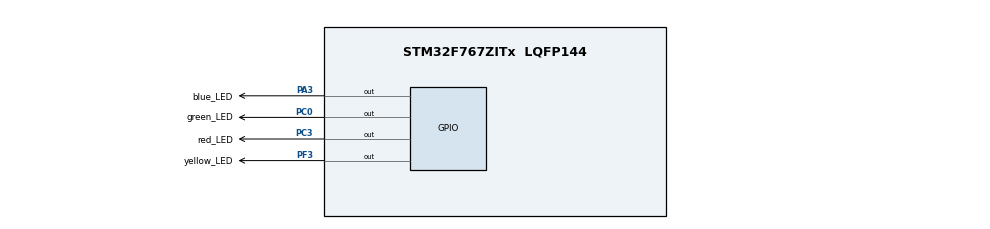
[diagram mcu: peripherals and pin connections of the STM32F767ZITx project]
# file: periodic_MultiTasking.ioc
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FREERTOS.Tasks01=toggleGreen,24,128,toggleGreenHook,Default,NULL,Dynamic,NULL,NULL;toggleRed,8,128,toggleRedHook,Default,NULL,Dynamic,NULL,NULL
Mcu.Family=STM32F7
Mcu.Name=STM32F767ZITx
Mcu.Package=LQFP144
NVIC.PriorityGroup=NVIC_PRIORITYGROUP_4
NVIC.TIM6_DAC_IRQn=true\:5\:0\:false\:false\:true\:true\:true\:true\:true
PA3.GPIO_Label=blue_LED
PA3.Signal=GPIO_Output
PC0.GPIO_Label=green_LED
PC0.Signal=GPIO_Output
PC3.GPIO_Label=red_LED
PC3.Signal=GPIO_Output
PF3.GPIO_Label=yellow_LED
PF3.Signal=GPIO_Output
ProjectManager.HeapSize=0x200
ProjectManager.StackSize=0x400
ProjectManager.TargetToolchain=STM32CubeIDE
RCC.HSE_VALUE=25000000
RCC.HSI_VALUE=16000000
RCC.LSE_VALUE=32768
RCC.USBFreq_Value=96000000
RCC.VCOOutputFreq_Value=192000000
TIM6.Prescaler=16 - 1
VP_FREERTOS_VS_CMSIS_V2.Mode=CMSIS_V2
VP_TIM1_VS_ControllerModeTrigger.Mode=Trigger Mode
VP_TIM6_VS_ClockSourceINT.Mode=Enable_Timer
board=custom

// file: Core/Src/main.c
/* USER CODE BEGIN Header */
/**
  ******************************************************************************
  * @file           : main.c
  * @brief          : Main program body
  ******************************************************************************
  * @attention
  *
  * Copyright (c) 2025 STMicroelectronics.
  * All rights reserved.
  *
  * This software is licensed under terms that can be found in the LICENSE file
  * in the root directory of this software component.
  * If no LICENSE file comes with this software, it is provided AS-IS.
  *
  ******************************************************************************
  */
/* USER CODE END Header */
#include "main.h"
#include "cmsis_os.h"

TIM_HandleTypeDef htim6;

/* Definitions for toggleGreen */
osThreadId_t toggleGreenHandle;
const osThreadAttr_t toggleGreen_attributes = {
  .name = "toggleGreen",
  .stack_size = 128 * 4,
  .priority = (osPriority_t) osPriorityNormal,
};
/* Definitions for toggleRed */
osThreadId_t toggleRedHandle;
const osThreadAttr_t toggleRed_attributes = {
  .name = "toggleRed",
  .stack_size = 128 * 4,
  .priority = (osPriority_t) osPriorityLow,
};

void SystemClock_Config(void);
static void MPU_Config(void);
static void MX_GPIO_Init(void);
static void MX_TIM1_Init(void);
static void MX_TIM6_Init(void);
void toggleGreenHook(void *argument);
void toggleRedHook(void *argument);

int main(void)
{

  /* MPU Configuration--------------------------------------------------------*/
  MPU_Config();

  /* MCU Configuration--------------------------------------------------------*/

  /* Reset of all peripherals, Initializes the Flash interface and the Systick. */
  HAL_Init();

  /* Configure the system clock */
  SystemClock_Config();

  /* Initialize all configured peripherals */
  MX_GPIO_Init();
  MX_TIM1_Init();
  MX_TIM6_Init();

  /* Init scheduler */
  osKernelInitialize();

  /* Create the thread(s) */
  /* creation of toggleGreen */
  toggleGreenHandle = osThreadNew(toggleGreenHook, NULL, &toggleGreen_attributes);

  /* creation of toggleRed */
  toggleRedHandle = osThreadNew(toggleRedHook, NULL, &toggleRed_attributes);

  /* Start scheduler */
  osKernelStart();

  /* We should never get here as control is now taken by the scheduler */
  /* Infinite loop */
  while (1)
  {

  }
}

void SystemClock_Config(void)
{
  RCC_OscInitTypeDef RCC_OscInitStruct = {0};
  RCC_ClkInitTypeDef RCC_ClkInitStruct = {0};

  /** Configure the main internal regulator output voltage
  */
  __HAL_RCC_PWR_CLK_ENABLE();
  __HAL_PWR_VOLTAGESCALING_CONFIG(PWR_REGULATOR_VOLTAGE_SCALE3);

  /** Initializes the RCC Oscillators according to the specified parameters
  * in the RCC_OscInitTypeDef structure.
  */
  RCC_OscInitStruct.OscillatorType = RCC_OSCILLATORTYPE_HSI;
  RCC_OscInitStruct.HSIState = RCC_HSI_ON;
  RCC_OscInitStruct.HSICalibrationValue = RCC_HSICALIBRATION_DEFAULT;
  RCC_OscInitStruct.PLL.PLLState = RCC_PLL_NONE;
  if (HAL_RCC_OscConfig(&RCC_OscInitStruct) != HAL_OK)
  {
    Error_Handler();
  }

  /** Initializes the CPU, AHB and APB buses clocks
  */
  RCC_ClkInitStruct.ClockType = RCC_CLOCKTYPE_HCLK|RCC_CLOCKTYPE_SYSCLK
                              |RCC_CLOCKTYPE_PCLK1|RCC_CLOCKTYPE_PCLK2;
  RCC_ClkInitStruct.SYSCLKSource = RCC_SYSCLKSOURCE_HSI;
  RCC_ClkInitStruct.AHBCLKDivider = RCC_SYSCLK_DIV1;
  RCC_ClkInitStruct.APB1CLKDivider = RCC_HCLK_DIV1;
  RCC_ClkInitStruct.APB2CLKDivider = RCC_HCLK_DIV1;

  if (HAL_RCC_ClockConfig(&RCC_ClkInitStruct, FLASH_LATENCY_0) != HAL_OK)
  {
    Error_Handler();
  }
}

static void MX_TIM1_Init(void)
{

}

static void MX_TIM6_Init(void)
{

  TIM_MasterConfigTypeDef sMasterConfig = {0};

  htim6.Instance = TIM6;
  htim6.Init.Prescaler = 16 - 1;
  htim6.Init.CounterMode = TIM_COUNTERMODE_UP;
  htim6.Init.Period = 65535;
  htim6.Init.AutoReloadPreload = TIM_AUTORELOAD_PRELOAD_DISABLE;
  if (HAL_TIM_Base_Init(&htim6) != HAL_OK)
  {
    Error_Handler();
  }
  sMasterConfig.MasterOutputTrigger = TIM_TRGO_RESET;
  sMasterConfig.MasterSlaveMode = TIM_MASTERSLAVEMODE_DISABLE;
  if (HAL_TIMEx_MasterConfigSynchronization(&htim6, &sMasterConfig) != HAL_OK)
  {
    Error_Handler();
  }

}

static void MX_GPIO_Init(void)
{
  GPIO_InitTypeDef GPIO_InitStruct = {0};

  /* GPIO Ports Clock Enable */
  __HAL_RCC_GPIOF_CLK_ENABLE();
  __HAL_RCC_GPIOC_CLK_ENABLE();
  __HAL_RCC_GPIOA_CLK_ENABLE();

  /*Configure GPIO pin Output Level */
  HAL_GPIO_WritePin(yellow_LED_GPIO_Port, yellow_LED_Pin, GPIO_PIN_RESET);

  /*Configure GPIO pin Output Level */
  HAL_GPIO_WritePin(GPIOC, green_LED_Pin|red_LED_Pin, GPIO_PIN_RESET);

  /*Configure GPIO pin Output Level */
  HAL_GPIO_WritePin(blue_LED_GPIO_Port, blue_LED_Pin, GPIO_PIN_RESET);

  /*Configure GPIO pin : yellow_LED_Pin */
  GPIO_InitStruct.Pin = yellow_LED_Pin;
  GPIO_InitStruct.Mode = GPIO_MODE_OUTPUT_PP;
  GPIO_InitStruct.Pull = GPIO_NOPULL;
  GPIO_InitStruct.Speed = GPIO_SPEED_FREQ_LOW;
  HAL_GPIO_Init(yellow_LED_GPIO_Port, &GPIO_InitStruct);

  /*Configure GPIO pins : green_LED_Pin red_LED_Pin */
  GPIO_InitStruct.Pin = green_LED_Pin|red_LED_Pin;
  GPIO_InitStruct.Mode = GPIO_MODE_OUTPUT_PP;
  GPIO_InitStruct.Pull = GPIO_NOPULL;
  GPIO_InitStruct.Speed = GPIO_SPEED_FREQ_LOW;
  HAL_GPIO_Init(GPIOC, &GPIO_InitStruct);

  /*Configure GPIO pin : blue_LED_Pin */
  GPIO_InitStruct.Pin = blue_LED_Pin;
  GPIO_InitStruct.Mode = GPIO_MODE_OUTPUT_PP;
  GPIO_InitStruct.Pull = GPIO_NOPULL;
  GPIO_InitStruct.Speed = GPIO_SPEED_FREQ_LOW;
  HAL_GPIO_Init(blue_LED_GPIO_Port, &GPIO_InitStruct);

}

void toggleGreenHook(void *argument)
{
  /* USER CODE BEGIN 5 */
	const TickType_t xTaskPeriod = pdMS_TO_TICKS(6000); // 6 second total period
	const TickType_t xTogglePeriod = pdMS_TO_TICKS(25); // 25ms for each toggle (20Hz)

	TickType_t xLastWakeTime = xTaskGetTickCount();

	  /* Infinite loop */
	  for(;;)
	  {
	    // At startup, turn ON the blue LED
	    HAL_GPIO_WritePin(blue_LED_GPIO_Port, blue_LED_Pin, GPIO_PIN_SET);

	    // Toggle green LED at 20Hz for 4 seconds
	    TickType_t xToggleStart = xTaskGetTickCount();

	    while((xTaskGetTickCount() - xToggleStart) < pdMS_TO_TICKS(4000))
	    {
	      HAL_GPIO_TogglePin(GPIOC, green_LED_Pin);
	      vTaskDelay(xTogglePeriod);
	    }

	    // Ensure green LED is OFF after toggling
	    HAL_GPIO_WritePin(GPIOC, green_LED_Pin, GPIO_PIN_RESET);

	    // At completion, turn OFF the blue LED
	    HAL_GPIO_WritePin(blue_LED_GPIO_Port, blue_LED_Pin, GPIO_PIN_RESET);

	    // Wait for the next cycle using absolute timing (6s total period)
	    vTaskDelayUntil(&xLastWakeTime, xTaskPeriod);
	  }
  /* USER CODE END 5 */
}

void toggleRedHook(void *argument)
{
  /* USER CODE BEGIN toggleRedHook */
	const TickType_t xTaskPeriod = pdMS_TO_TICKS(2250); // 2 second total period + 250 mS just to show that the led is actually turning off
    const TickType_t xTogglePeriod = pdMS_TO_TICKS(25); // 25ms for each toggle (20Hz)

	// Initialize the xLastWakeTime variable with the current time
	TickType_t xLastWakeTime = xTaskGetTickCount();

	  /* Infinite loop */
	  for(;;)
	  {
	    // At startup, turn ON the yellow LED
	    HAL_GPIO_WritePin(yellow_LED_GPIO_Port, yellow_LED_Pin, GPIO_PIN_SET);

	    // Toggle red LED at 20Hz for 2 seconds
	    TickType_t xToggleStart = xTaskGetTickCount();

	    while((xTaskGetTickCount() - xToggleStart) < pdMS_TO_TICKS(2000))
	    {
	      HAL_GPIO_TogglePin(GPIOC, red_LED_Pin);
	      vTaskDelay(xTogglePeriod);
	    }

	    // Ensure red LED is OFF after toggling
	    HAL_GPIO_WritePin(GPIOC, red_LED_Pin, GPIO_PIN_RESET);

	    // At completion, turn OFF the yellow LED
	    HAL_GPIO_WritePin(yellow_LED_GPIO_Port, yellow_LED_Pin, GPIO_PIN_RESET);

	    // Wait for the next cycle using absolute timing (2s total period)
	    vTaskDelayUntil(&xLastWakeTime, xTaskPeriod);
	  }
  /* USER CODE END toggleRedHook */
}

/* MPU Configuration */

void MPU_Config(void)
{
  MPU_Region_InitTypeDef MPU_InitStruct = {0};

  /* Disables the MPU */
  HAL_MPU_Disable();

  /** Initializes and configures the Region and the memory to be protected
  */
  MPU_InitStruct.Enable = MPU_REGION_ENABLE;
  MPU_InitStruct.Number = MPU_REGION_NUMBER0;
  MPU_InitStruct.BaseAddress = 0x0;
  MPU_InitStruct.Size = MPU_REGION_SIZE_4GB;
  MPU_InitStruct.SubRegionDisable = 0x87;
  MPU_InitStruct.TypeExtField = MPU_TEX_LEVEL0;
  MPU_InitStruct.AccessPermission = MPU_REGION_NO_ACCESS;
  MPU_InitStruct.DisableExec = MPU_INSTRUCTION_ACCESS_DISABLE;
  MPU_InitStruct.IsShareable = MPU_ACCESS_SHAREABLE;
  MPU_InitStruct.IsCacheable = MPU_ACCESS_NOT_CACHEABLE;
  MPU_InitStruct.IsBufferable = MPU_ACCESS_NOT_BUFFERABLE;

  HAL_MPU_ConfigRegion(&MPU_InitStruct);
  /* Enables the MPU */
  HAL_MPU_Enable(MPU_PRIVILEGED_DEFAULT);

}

void Error_Handler(void)
{
  __disable_irq();
  while (1)
  {
  }
}
